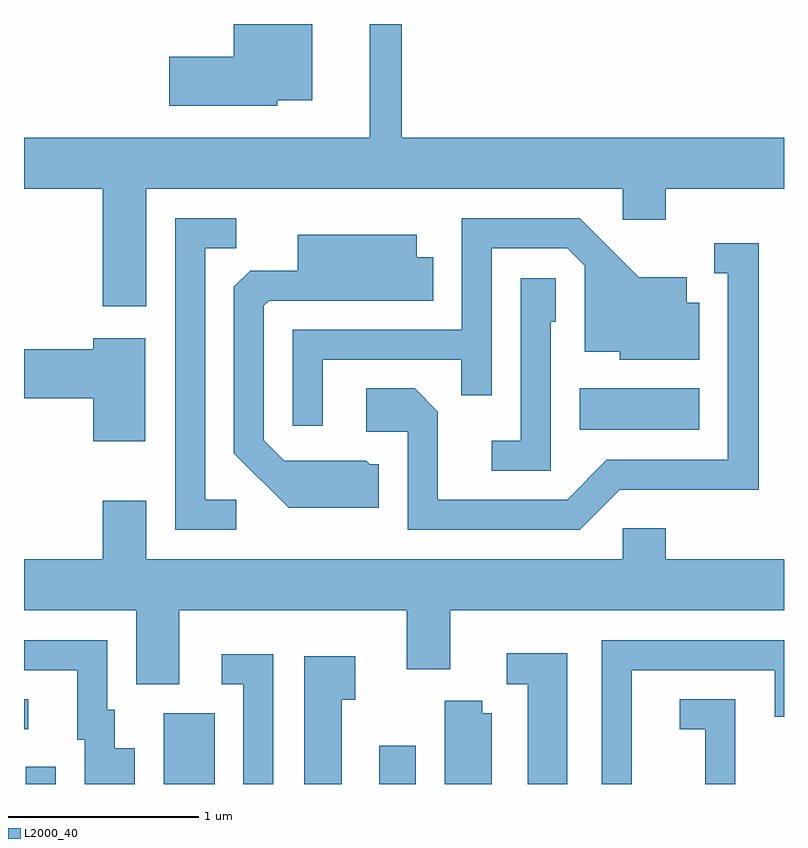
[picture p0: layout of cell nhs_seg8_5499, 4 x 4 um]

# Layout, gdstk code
import gdstk
lib = gdstk.Library(unit=1e-6, precision=1e-09)
def R(c, l, rs):  # rectangles x0, y0, x1, y1
    for r in rs: c.add(gdstk.rectangle(r[:2], r[2:], *l))
def P(c, l, *ps):  # polygons
    for p in ps: c.add(gdstk.Polygon(p, *l))
L2000_40 = (2000, 40)

nhs_seg8_5499 = lib.new_cell('nhs_seg8_5499')
R(nhs_seg8_5499, L2000_40, [(349.621,1884.342,349.779,1884.433), (350.346,1884.342,350.614,1884.714), (351.481,1884.342,351.674,1884.544), (349.611,1884.631,349.633,1884.789), (352.536,1886.206,353.164,1886.424)])
P(nhs_seg8_5499, L2000_40, [(350.254,1887.476),(352.761,1887.476),(352.761,1887.311),(352.989,1887.311),(352.989,1887.476),(353.611,1887.476),(353.611,1887.744),(351.599,1887.744),(351.599,1888.342),(351.431,1888.342),(351.431,1887.744),(349.611,1887.744),(349.611,1887.476),(350.026,1887.476),(350.026,1886.856),(350.254,1886.856)],
  [(350.944,1887.941),(351.129,1887.941),(351.129,1888.342),(350.716,1888.342),(350.716,1888.169),(350.376,1888.169),(350.376,1887.911),(350.944,1887.911)],
  [(351.184,1886.576),(351.911,1886.576),(351.911,1886.388),(352.074,1886.388),(352.074,1887.161),(352.469,1887.161),(352.561,1887.069),(352.561,1886.616),(352.746,1886.616),(352.746,1886.576),(353.164,1886.576),(353.164,1886.874),(353.099,1886.874),(353.099,1887.009),(352.847,1887.009),(352.537,1887.319),(351.916,1887.319),(351.916,1886.734),(351.026,1886.734),(351.026,1886.228),(351.184,1886.228)],
  [(350.728,1885.839),(350.564,1885.839),(350.564,1887.161),(350.728,1887.161),(350.728,1887.319),(350.406,1887.319),(350.406,1885.681),(350.728,1885.681)],
  [(351.479,1886.024),(351.432,1886.024),(351.412,1886.044),(350.982,1886.044),(350.874,1886.152),(350.874,1886.859),(350.902,1886.886),(351.764,1886.886),(351.764,1887.114),(351.679,1887.114),(351.679,1887.234),(351.051,1887.234),(351.051,1887.044),(350.802,1887.044),(350.716,1886.959),(350.716,1886.084),(351.004,1885.796),(351.479,1885.796)],
  [(352.747,1885.891),(353.479,1885.891),(353.479,1887.189),(353.243,1887.189),(353.243,1887.031),(353.316,1887.031),(353.316,1886.049),(352.679,1886.049),(352.469,1885.839),(351.789,1885.839),(351.789,1886.302),(351.667,1886.424),(351.411,1886.424),(351.411,1886.196),(351.631,1886.196),(351.631,1885.681),(352.537,1885.681)],
  [(352.384,1886.776),(352.409,1886.776),(352.409,1887.004),(352.226,1887.004),(352.226,1886.149),(352.073,1886.149),(352.073,1885.991),(352.384,1885.991)],
  [(350.249,1886.689),(349.976,1886.689),(349.976,1886.629),(349.611,1886.629),(349.611,1886.371),(349.976,1886.371),(349.976,1886.146),(350.249,1886.146)],
  [(350.429,1885.256),(351.626,1885.256),(351.626,1884.946),(351.854,1884.946),(351.854,1885.256),(353.611,1885.256),(353.611,1885.524),(352.989,1885.524),(352.989,1885.689),(352.761,1885.689),(352.761,1885.524),(350.254,1885.524),(350.254,1885.834),(350.026,1885.834),(350.026,1885.524),(349.611,1885.524),(349.611,1885.256),(350.201,1885.256),(350.201,1884.866),(350.429,1884.866)],
  [(350.194,1884.529),(350.089,1884.529),(350.089,1884.734),(350.049,1884.734),(350.049,1885.099),(349.611,1885.099),(349.611,1884.941),(349.891,1884.941),(349.891,1884.576),(349.931,1884.576),(349.931,1884.342),(350.194,1884.342)],
  [(352.809,1884.941),(353.561,1884.941),(353.561,1884.696),(353.611,1884.696),(353.611,1885.099),(352.651,1885.099),(352.651,1884.342),(352.809,1884.342)],
  [(352.469,1885.029),(352.153,1885.029),(352.153,1884.866),(352.261,1884.866),(352.261,1884.342),(352.469,1884.342)],
  [(350.924,1885.024),(350.653,1885.024),(350.653,1884.866),(350.766,1884.866),(350.766,1884.342),(350.924,1884.342)],
  [(351.284,1884.786),(351.354,1884.786),(351.354,1885.014),(351.086,1885.014),(351.086,1884.342),(351.284,1884.342)],
  [(353.354,1884.789),(353.063,1884.789),(353.063,1884.631),(353.196,1884.631),(353.196,1884.342),(353.354,1884.342)],
  [(352.074,1884.714),(352.024,1884.714),(352.024,1884.779),(351.826,1884.779),(351.826,1884.342),(352.074,1884.342)])

lib.write_gds('nhs_seg8_5499.gds')
